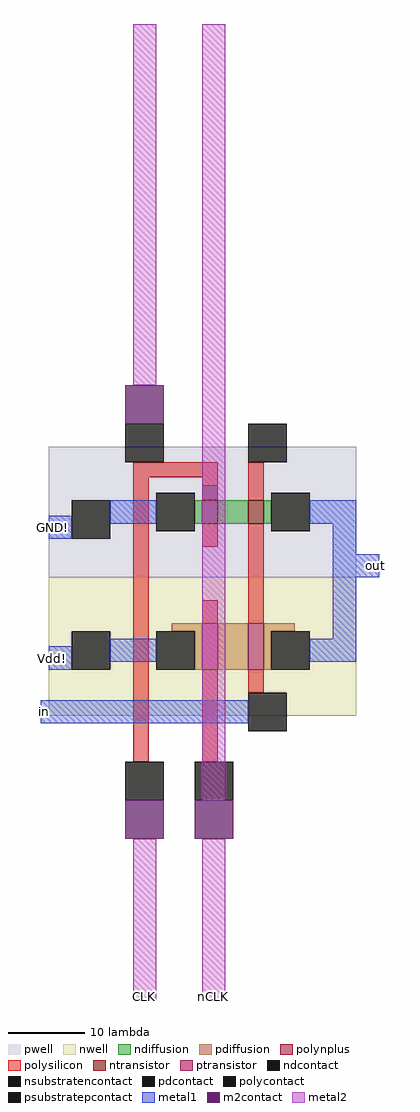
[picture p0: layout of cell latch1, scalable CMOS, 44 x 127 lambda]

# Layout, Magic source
magic
tech scmos
<< nwell >>
rect 3 33 43 51
<< pwell >>
rect 3 51 43 68
<< ntransistor >>
rect 23 58 25 61
rect 29 58 31 61
<< ptransistor >>
rect 23 39 25 45
rect 29 39 31 45
<< ndiffusion >>
rect 22 58 23 61
rect 25 58 29 61
rect 31 58 32 61
<< pdiffusion >>
rect 19 44 23 45
rect 22 39 23 44
rect 25 39 29 45
rect 31 44 35 45
rect 31 39 32 44
<< ndcontact >>
rect 17 57 22 62
rect 32 57 37 62
<< pdcontact >>
rect 17 39 22 44
rect 32 39 37 44
<< psubstratepcontact >>
rect 6 56 11 61
<< nsubstratencontact >>
rect 6 39 11 44
<< polysilicon >>
rect 14 64 25 66
rect 14 27 16 64
rect 23 63 25 64
rect 29 61 31 66
rect 23 55 25 58
rect 23 45 25 48
rect 29 45 31 58
rect 23 27 25 39
rect 29 36 31 39
<< polycontact >>
rect 13 66 18 71
rect 29 66 34 71
rect 29 31 34 36
rect 13 22 18 27
rect 22 22 27 27
<< polynplus >>
rect 23 61 25 63
<< metal1 >>
rect 3 56 6 59
rect 11 58 17 61
rect 37 58 43 61
rect 40 54 43 58
rect 40 51 46 54
rect 3 39 6 42
rect 11 40 17 43
rect 40 43 43 51
rect 37 40 43 43
rect 2 32 29 35
<< m2contact >>
rect 13 71 18 76
rect 13 17 18 22
rect 22 17 27 22
<< metal2 >>
rect 14 76 17 123
rect 23 22 26 123
rect 14 -4 17 17
rect 23 -4 26 17
<< labels >>
rlabel metal1 3 57 4 58 3 GND!
rlabel metal1 3 40 4 41 3 Vdd!
rlabel metal1 2 33 3 34 3 in
rlabel metal2 24 -4 25 -3 1 nCLK
rlabel metal2 15 -4 16 -3 1 CLK
rlabel metal1 45 52 46 53 7 out
<< end >>
